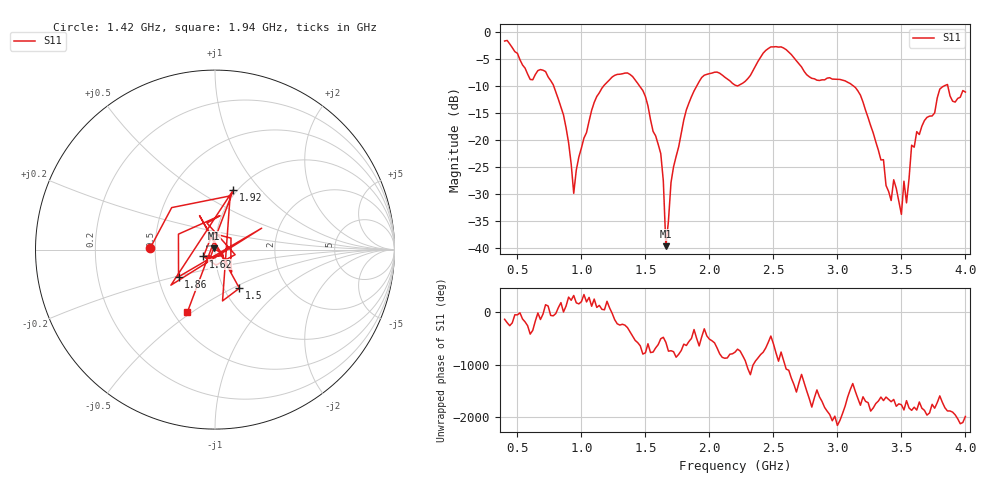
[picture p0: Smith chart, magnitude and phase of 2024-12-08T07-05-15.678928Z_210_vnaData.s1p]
!Created with skrf (http://scikit-rf.org).
# Hz S RI R 50.0
!freq ReS11 ImS11
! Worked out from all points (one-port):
!   181 points, 400 MHz to 4 GHz, reference 50 ohm
!   lowest |S11| = -39.7 dB at 1.66 GHz (marker M1), VSWR 1.02, Z = 49.2 + j0.645 ohm
!   |S11| at or under -10 dB: 784.2 MHz to 1.172 GHz (387.8 MHz wide, 39.6 % of centre); 1.456 GHz to 1.9 GHz (444.9 MHz wide, 26.5 % of centre); 3.128 GHz to 3.829 GHz (700.7 MHz wide, 20.1 % of centre) (the widest 3 of 4)
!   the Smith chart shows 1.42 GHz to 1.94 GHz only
!   S11 on the Smith chart (normalised r, x): 1.42 GHz: 0.47, +0.01; 1.5 GHz: 1.18, -0.54; 1.62 GHz: 0.88, -0.07; 1.86 GHz: 0.64, -0.21; 1.92 GHz: 0.96, +0.73; 1.94 GHz: 0.59, -0.48
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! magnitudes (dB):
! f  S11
! 400 MHz  -1.6
! 720 MHz  -7.3
! 860 MHz  -15.3
! 940 MHz  -29.9
! 1.1 GHz  -13.0
! 1.3 GHz  -7.8
! 1.42 GHz  -8.8
! 1.5 GHz  -11.9
! 1.62 GHz  -22.5
! 1.66 GHz  -39.7
! 1.7 GHz  -27.9
! 1.76 GHz  -21.2
! 1.86 GHz  -11.9
! 1.92 GHz  -9.1
! 1.94 GHz  -8.4
! 2.2 GHz  -9.8
! 2.48 GHz  -2.7
! 2.66 GHz  -4.7
! 3.1 GHz  -9.5
! 3.42 GHz  -31.2
! 3.44 GHz  -27.3
! 3.5 GHz  -33.8
! 3.52 GHz  -27.6
! 3.54 GHz  -31.6
! 3.56 GHz  -27.1
! 3.58 GHz  -20.9
! 3.8 GHz  -10.5
! 4 GHz  -11.1
